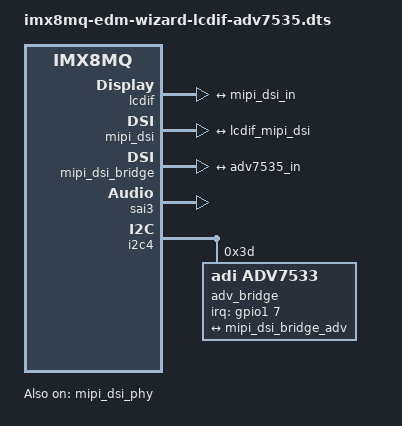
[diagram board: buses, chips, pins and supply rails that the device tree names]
/*
 * Copyright 2019 Technexion Ltd.
 *
 * This program is free software; you can redistribute it and/or
 * modify it under the terms of the GNU General Public License
 * as published by the Free Software Foundation; either version 2
 * of the License, or (at your option) any later version.
 *
 * This program is distributed in the hope that it will be useful,
 * but WITHOUT ANY WARRANTY; without even the implied warranty of
 * MERCHANTABILITY or FITNESS FOR A PARTICULAR PURPOSE.  See the
 * GNU General Public License for more details.
 */

#include "imx8mq-edm-wizard.dts"

/ {
	display-subsystem {
		status = "disabled";
	};

	sound-hdmi {
		status = "disabled";
	};

	sound-adv7535 {
		compatible = "simple-audio-card";
		simple-audio-card,name = "adv7535-hdmi";
		simple-audio-card,format = "i2s";
		simple-audio-card,bitclock-master = <&sound_master>;
		simple-audio-card,frame-master = <&sound_master>;
		sound_master: simple-audio-card,cpu {
			sound-dai = <&sai3>;
		};
		simple-audio-card,codec {
			sound-dai = <&adv_bridge>;
		};
	};
};

&irqsteer_dcss {
	status = "disabled";
};

&dcss {
	status = "disabled";
};

&hdmi {
	status = "disabled";
};

&lcdif {
	status = "okay";
	max-res = <1920>, <1080>;

	port@0 {
		lcdif_mipi_dsi: mipi-dsi-endpoint {
			remote-endpoint = <&mipi_dsi_in>;
		};
	};
};

&mipi_dsi_phy {
	status = "okay";
};

&mipi_dsi {
	status = "okay";
	as_bridge;
	sync-pol = <1>;
	pwr-delay = <10>;

	port@1 {
		mipi_dsi_in: endpoint {
			remote-endpoint = <&lcdif_mipi_dsi>;
		};
	};
};

&mipi_dsi_bridge {
	status = "okay";
	port@1 {
		mipi_dsi_bridge_adv: endpoint {
			remote-endpoint = <&adv7535_in>;
		};
	};
};

&iomuxc {
	edm-imx8m {
		pinctrl_sai3: sai3grp {
			fsl,pins = <
				MX8MQ_IOMUXC_SAI3_TXFS_SAI3_TX_SYNC	0xd6
				MX8MQ_IOMUXC_SAI3_TXC_SAI3_TX_BCLK	0xd6
				MX8MQ_IOMUXC_SAI3_RXD_SAI3_RX_DATA0	0xd6
				MX8MQ_IOMUXC_SAI3_TXD_SAI3_TX_DATA0	0xd6
				MX8MQ_IOMUXC_SAI3_MCLK_SAI3_MCLK	0xd6
			>;
		};
	};
};

&sai3 {
	#sound-dai-cells = <0>;
	pinctrl-names = "default";
	pinctrl-0 = <&pinctrl_sai3>;
	assigned-clocks = <&clk IMX8MQ_CLK_SAI3>;
	assigned-clock-parents = <&clk IMX8MQ_AUDIO_PLL1_OUT>;
	assigned-clock-rates = <24576000>;
	status = "okay";
};

&i2c4 {
	adv_bridge: adv7535@3d {
		compatible = "adi,adv7533";
		reg = <0x3d>;
		adi,addr-cec = <0x38>;
		adi,dsi-lanes = <4>;
		pinctrl-0 = <&pinctrl_touch_irq>;
		interrupt-parent = <&gpio1>;
		interrupts = <7 IRQ_TYPE_LEVEL_LOW>;
		status = "okay";
		#sound-dai-cells = <0>;

		port {
			adv7535_in: endpoint {
				remote-endpoint = <&mipi_dsi_bridge_adv>;
			};
		};
	};
};
